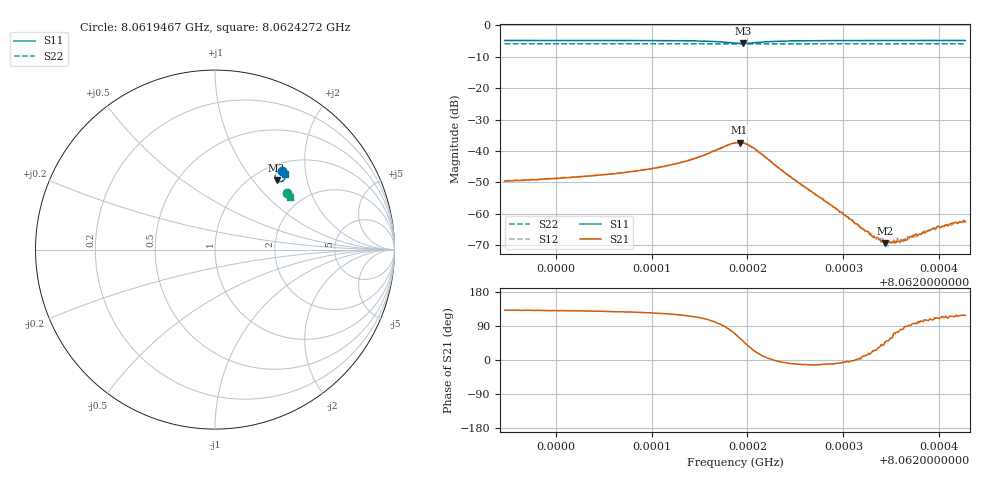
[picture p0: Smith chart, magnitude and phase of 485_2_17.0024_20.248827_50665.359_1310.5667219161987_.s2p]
#  HZ  S  RI  R  50.00
! Rohde & Schwarz Vector Network Analyzer
! Rohde-Schwarz,ZNB20-2Port,1311601062101988,3.16
! Created: UTC 3/20/2024, 11:13:50 PM
! freq[Hz]  re:S11  im:S11  re:S21  im:S21  re:S12  im:S12  re:S22  im:S22
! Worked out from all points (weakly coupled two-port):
!   401 points, 8.0619467 GHz to 8.0624272 GHz, reference 50 ohm
!   highest |S21| = -37.29 dB at 8.0621918 GHz (marker M1); lowest = -69.2 dB at 8.0623431 GHz (marker M2)
!   lowest |S11| = -5.7 dB at 8.0621954 GHz (marker M3), VSWR 3.14, Z = 63 + j66.5 ohm
!   |S11| at or under -10 dB: nowhere
!   |S22| runs from -5.9 to -5.8 dB; largest |S21 - S12| = 0.00094
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8.0619467e9  0.3735 0.4385  -0.00222 0.0025  -0.00207 0.00265  0.402 0.3145
8.06202719e9  0.3796 0.4326  -0.00248 0.00305  -0.00233 0.00321  0.405 0.3106
8.06210768e9  0.3875 0.4221  -0.00305 0.00462  -0.00276 0.00483  0.408 0.3061
8.06214372e9  0.3912 0.4105  -0.0031 0.00683  -0.00274 0.00706  0.4091 0.3038
8.06218697e9  0.361 0.3787  0.00475 0.0126  0.00552 0.0123  0.4088 0.3008
8.06219178e9  0.3501 0.3815  0.00716 0.0116  0.00794 0.0112  0.4085 0.3007
8.06219538e9  0.3429 0.3867  0.00873 0.0103  0.00936 0.00977  0.4084 0.301
8.0622086e9  0.335 0.4138  0.00969 0.00389  0.0101 0.00337  0.4089 0.3016
8.06224103e9  0.3594 0.4354  0.00422 -0.000577  0.00422 -0.000868  0.4113 0.3006
8.06226746e9  0.3702 0.4348  0.00217 -0.00051  0.00217 -0.000628  0.4128 0.2993
8.0622999e9  0.3774 0.4323  0.000982 -0.000101  0.001 -0.000184  0.414 0.2974
8.06232513e9  0.3811 0.4304  0.000515 0.000129  0.000498 0.000107  0.4151 0.2961
8.06232993e9  0.3817 0.4299  0.000412 0.000161  0.000469 0.000129  0.4153 0.2959
8.06233474e9  0.3823 0.4296  0.000394 0.000198  0.000352 0.00018  0.4153 0.2956
8.06234315e9  0.3833 0.4291  0.000238 0.000252  0.000241 0.000246  0.4157 0.2951
8.06234435e9  0.3833 0.4289  0.000249 0.000281  0.000273 0.00024  0.4157 0.2952
8.06234795e9  0.3837 0.4287  0.000211 0.000286  0.000251 0.000267  0.4157 0.2949
8.06235036e9  0.384 0.4284  0.000187 0.000292  0.000193 0.00032  0.4159 0.2948
8.06235636e9  0.3846 0.4281  0.000105 0.000344  0.000143 0.000388  0.4161 0.2945
8.06236357e9  0.3853 0.4276  1.72e-05 0.000373  6.49e-05 0.000379  0.4165 0.2941
8.06239601e9  0.3883 0.4254  -0.000205 0.000553  -0.000152 0.00054  0.4177 0.2925
8.06242724e9  0.3907 0.4235  -0.000342 0.000662  -0.000337 0.000715  0.4186 0.2908
